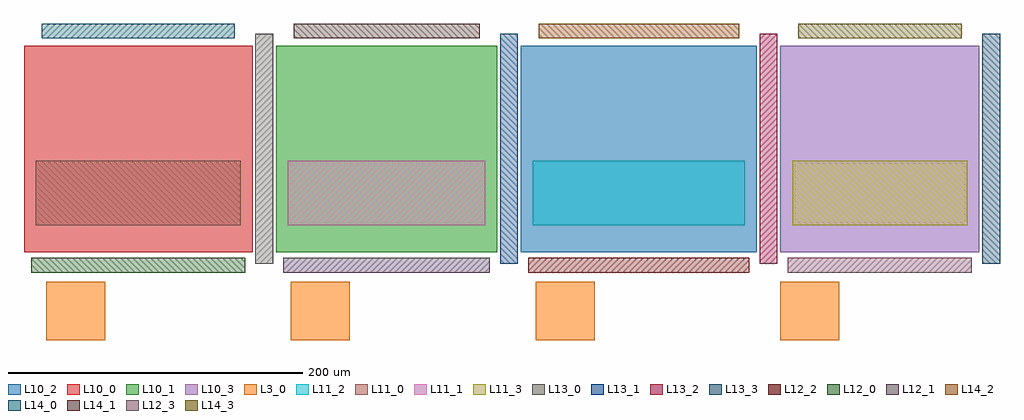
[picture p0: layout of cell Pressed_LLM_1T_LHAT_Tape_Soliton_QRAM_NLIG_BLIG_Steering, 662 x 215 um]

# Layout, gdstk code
import gdstk
lib = gdstk.Library(unit=1e-6, precision=1e-09)
def R(c, l, rs):  # rectangles x0, y0, x1, y1
    for r in rs: c.add(gdstk.rectangle(r[:2], r[2:], *l))
def A(c, l, x, y, w, h, nx, ny, dx, dy):  # array of equal rectangles
    R(c, l, [(x+i*dx, y+j*dy, x+i*dx+w, y+j*dy+h) for i in range(nx) for j in range(ny)])
L3_0 = (3, 0)
L10_0 = (10, 0)
L10_1 = (10, 1)
L10_2 = (10, 2)
L10_3 = (10, 3)
L11_0 = (11, 0)
L11_1 = (11, 1)
L11_2 = (11, 2)
L11_3 = (11, 3)
L12_0 = (12, 0)
L12_1 = (12, 1)
L12_2 = (12, 2)
L12_3 = (12, 3)
L13_0 = (13, 0)
L13_1 = (13, 1)
L13_2 = (13, 2)
L13_3 = (13, 3)
L14_0 = (14, 0)
L14_1 = (14, 1)
L14_2 = (14, 2)
L14_3 = (14, 3)

pressed_llm_1t_lhat_tape = lib.new_cell('Pressed_LLM_1T_LHAT_Tape_Soliton_QRAM_NLIG_BLIG_Steering')
A(pressed_llm_1t_lhat_tape, L3_0, 15, -60, 40, 40, 4, 1, 166, 0)
R(pressed_llm_1t_lhat_tape, L10_0, [(0,0,155,140)])
R(pressed_llm_1t_lhat_tape, L10_1, [(171,0,321,140)])
R(pressed_llm_1t_lhat_tape, L10_2, [(337,0,497,140)])
R(pressed_llm_1t_lhat_tape, L10_3, [(513,0,648,140)])
R(pressed_llm_1t_lhat_tape, L11_0, [(8,18,147,62)])
R(pressed_llm_1t_lhat_tape, L11_1, [(179,18,313,62)])
R(pressed_llm_1t_lhat_tape, L11_2, [(345,18,489,62)])
R(pressed_llm_1t_lhat_tape, L11_3, [(521,18,640,62)])
R(pressed_llm_1t_lhat_tape, L12_0, [(5,-14,150,-4)])
R(pressed_llm_1t_lhat_tape, L12_1, [(176,-14,316,-4)])
R(pressed_llm_1t_lhat_tape, L12_2, [(342,-14,492,-4)])
R(pressed_llm_1t_lhat_tape, L12_3, [(518,-14,643,-4)])
R(pressed_llm_1t_lhat_tape, L13_0, [(157,-8,169,148)])
R(pressed_llm_1t_lhat_tape, L13_1, [(323,-8,335,148)])
R(pressed_llm_1t_lhat_tape, L13_2, [(499,-8,511,148)])
R(pressed_llm_1t_lhat_tape, L13_3, [(650,-8,662,148)])
R(pressed_llm_1t_lhat_tape, L14_0, [(12,145,143,155)])
R(pressed_llm_1t_lhat_tape, L14_1, [(183,145,309,155)])
R(pressed_llm_1t_lhat_tape, L14_2, [(349,145,485,155)])
R(pressed_llm_1t_lhat_tape, L14_3, [(525,145,636,155)])

lib.write_gds('Pressed_LLM_1T_LHAT_Tape_Soliton_QRAM_NLIG_BLIG_Steering.gds')
